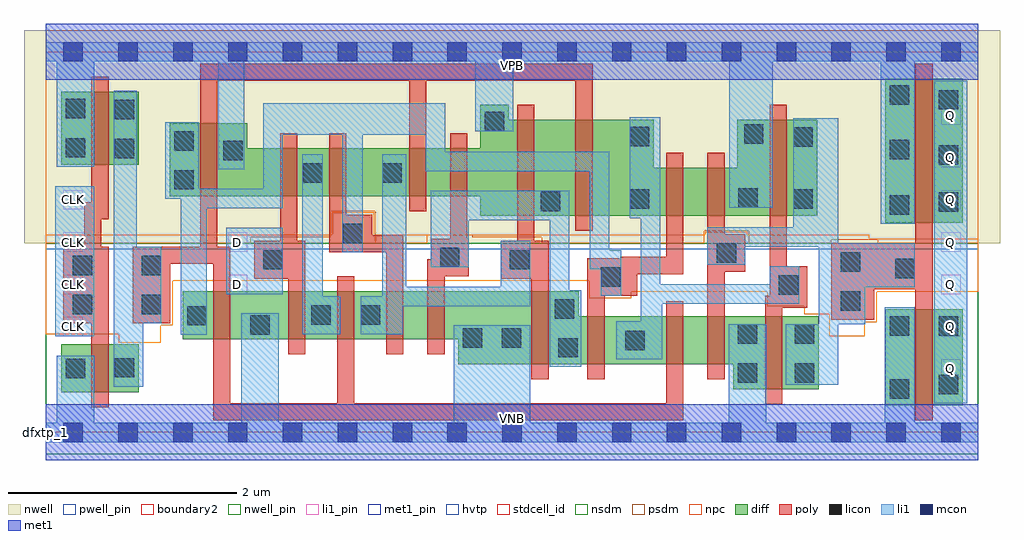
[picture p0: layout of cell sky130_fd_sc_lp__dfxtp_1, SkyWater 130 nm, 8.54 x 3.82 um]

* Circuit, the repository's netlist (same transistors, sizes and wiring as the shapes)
* Copyright 2020 The SkyWater PDK Authors
*
* Licensed under the Apache License, Version 2.0 (the "License");
* you may not use this file except in compliance with the License.
* You may obtain a copy of the License at
*
*     https://www.apache.org/licenses/LICENSE-2.0
*
* Unless required by applicable law or agreed to in writing, software
* distributed under the License is distributed on an "AS IS" BASIS,
* WITHOUT WARRANTIES OR CONDITIONS OF ANY KIND, either express or implied.
* See the License for the specific language governing permissions and
* limitations under the License.
*
* SPDX-License-Identifier: Apache-2.0

.SUBCKT sky130_fd_sc_lp__dfxtp_1 CLK D VGND VNB VPB VPWR Q
*.PININFO CLK:I D:I VGND:I VNB:I VPB:I VPWR:I Q:O
MI657 M0 clkpos net72 VNB sky130_fd_pr__nfet_01v8 m=1 w=0.42U l=0.15U mult=1 sa=0.265
+ sb=0.265 sd=0.28 area=0.063 perim=1.14
MI656 net72 M1 VGND VNB sky130_fd_pr__nfet_01v8 m=1 w=0.42U l=0.15U mult=1 sa=0.265
+ sb=0.265 sd=0.28 area=0.063 perim=1.14
MI646 Q S1 VGND VNB sky130_fd_pr__nfet_01v8 m=1 w=0.84U l=0.15U mult=1 sa=0.265
+ sb=0.265 sd=0.28 area=0.063 perim=1.14
MI648 db clkneg M0 VNB sky130_fd_pr__nfet_01v8 m=1 w=0.42U l=0.15U mult=1 sa=0.265
+ sb=0.265 sd=0.28 area=0.063 perim=1.14
MI654 db D VGND VNB sky130_fd_pr__nfet_01v8 m=1 w=0.42U l=0.15U mult=1 sa=0.265
+ sb=0.265 sd=0.28 area=0.063 perim=1.14
MI642 S0 clkneg net48 VNB sky130_fd_pr__nfet_01v8 m=1 w=0.42U l=0.15U mult=1 sa=0.265
+ sb=0.265 sd=0.28 area=0.063 perim=1.14
MI641 net48 S1 VGND VNB sky130_fd_pr__nfet_01v8 m=1 w=0.42U l=0.15U mult=1 sa=0.265
+ sb=0.265 sd=0.28 area=0.063 perim=1.14
MI652 M1 clkpos S0 VNB sky130_fd_pr__nfet_01v8 m=1 w=0.42U l=0.15U mult=1 sa=0.265
+ sb=0.265 sd=0.28 area=0.063 perim=1.14
MI649 S1 S0 VGND VNB sky130_fd_pr__nfet_01v8 m=1 w=0.64U l=0.15U mult=1 sa=0.265
+ sb=0.265 sd=0.28 area=0.063 perim=1.14
MI635 clkneg CLK VGND VNB sky130_fd_pr__nfet_01v8 m=1 w=0.42U l=0.15U mult=1 sa=0.265
+ sb=0.265 sd=0.28 area=0.063 perim=1.14
MI636 clkpos clkneg VGND VNB sky130_fd_pr__nfet_01v8 m=1 w=0.42U l=0.15U mult=1
+ sa=0.265 sb=0.265 sd=0.28 area=0.063 perim=1.14
MI634 M1 M0 VGND VNB sky130_fd_pr__nfet_01v8 m=1 w=0.64U l=0.15U mult=1 sa=0.265
+ sb=0.265 sd=0.28 area=0.063 perim=1.14
MI659 M0 clkneg net100 VPB sky130_fd_pr__pfet_01v8_hvt m=1 w=0.42U l=0.15U mult=1
+ sa=0.265 sb=0.265 sd=0.28 area=0.063 perim=1.14
MI650 S1 S0 VPWR VPB sky130_fd_pr__pfet_01v8_hvt m=1 w=0.84U l=0.15U mult=1 sa=0.265
+ sb=0.265 sd=0.28 area=0.063 perim=1.14
MI644 S0 clkpos net119 VPB sky130_fd_pr__pfet_01v8_hvt m=1 w=0.42U l=0.15U mult=1
+ sa=0.265 sb=0.265 sd=0.28 area=0.063 perim=1.14
MI639 M1 M0 VPWR VPB sky130_fd_pr__pfet_01v8_hvt m=1 w=0.84U l=0.15U mult=1 sa=0.265
+ sb=0.265 sd=0.28 area=0.063 perim=1.14
MI643 net119 S1 VPWR VPB sky130_fd_pr__pfet_01v8_hvt m=1 w=0.42U l=0.15U mult=1
+ sa=0.265 sb=0.265 sd=0.28 area=0.063 perim=1.14
MI638 clkneg CLK VPWR VPB sky130_fd_pr__pfet_01v8_hvt m=1 w=0.64U l=0.15U mult=1
+ sa=0.265 sb=0.265 sd=0.28 area=0.063 perim=1.14
MI658 net100 M1 VPWR VPB sky130_fd_pr__pfet_01v8_hvt m=1 w=0.42U l=0.15U mult=1
+ sa=0.265 sb=0.265 sd=0.28 area=0.063 perim=1.14
MI645 Q S1 VPWR VPB sky130_fd_pr__pfet_01v8_hvt m=1 w=1.26U l=0.15U mult=1 sa=0.265
+ sb=0.265 sd=0.28 area=0.063 perim=1.14
MI651 db clkpos M0 VPB sky130_fd_pr__pfet_01v8_hvt m=1 w=0.42U l=0.15U mult=1 sa=0.265
+ sb=0.265 sd=0.28 area=0.063 perim=1.14
MI655 db D VPWR VPB sky130_fd_pr__pfet_01v8_hvt m=1 w=0.42U l=0.15U mult=1 sa=0.265
+ sb=0.265 sd=0.28 area=0.063 perim=1.14
MI653 M1 clkneg S0 VPB sky130_fd_pr__pfet_01v8_hvt m=1 w=0.84U l=0.15U mult=1 sa=0.265
+ sb=0.265 sd=0.28 area=0.063 perim=1.14
MI637 clkpos clkneg VPWR VPB sky130_fd_pr__pfet_01v8_hvt m=1 w=0.64U l=0.15U mult=1
+ sa=0.265 sb=0.265 sd=0.28 area=0.063 perim=1.14
.ENDS sky130_fd_sc_lp__dfxtp_1

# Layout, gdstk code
import gdstk
lib = gdstk.Library(unit=1e-6, precision=1e-09)
def R(c, l, rs):  # rectangles x0, y0, x1, y1
    for r in rs: c.add(gdstk.rectangle(r[:2], r[2:], *l))
def A(c, l, x, y, w, h, nx, ny, dx, dy):  # array of equal rectangles
    R(c, l, [(x+i*dx, y+j*dy, x+i*dx+w, y+j*dy+h) for i in range(nx) for j in range(ny)])
def P(c, l, *ps):  # polygons
    for p in ps: c.add(gdstk.Polygon(p, *l))
nwell_pin = (64, 16)
nwell = (64, 20)
diff = (65, 20)
poly = (66, 20)
licon = (66, 44)
li1_pin = (67, 16)
li1 = (67, 20)
mcon = (67, 44)
met1_pin = (68, 16)
met1 = (68, 20)
hvtp = (78, 44)
stdcell_id = (81, 4)
nsdm = (93, 44)
psdm = (94, 20)
npc = (95, 20)
pwell_pin = (122, 16)
boundary2 = (236, 0)

sky130_fd_sc_lp__dfxtp_1 = lib.new_cell('sky130_fd_sc_lp__dfxtp_1')
R(sky130_fd_sc_lp__dfxtp_1, nwell_pin, [(0,3.085,8.16,3.33)])
R(sky130_fd_sc_lp__dfxtp_1, nwell, [(-0.19,1.655,8.35,3.52)])
R(sky130_fd_sc_lp__dfxtp_1, diff, [(7.345,0.235,8.025,1.075), (0.135,0.35,0.815,0.77), (7.345,1.835,8.025,3.095), (0.135,2.34,0.815,2.98)])
P(sky130_fd_sc_lp__dfxtp_1, diff, [(6.75,2.735),(6.05,2.735),(6.05,2.315),(5.32,2.315),(5.32,2.735),(4.05,2.735),(4.05,2.865),(3.8,2.865),(3.8,2.485),(1.765,2.485),(1.765,2.705),(1.085,2.705),(1.085,2.065),(3.8,2.065),(3.8,1.895),(6.75,1.895)],
  [(6.765,1.015),(4.665,1.015),(4.665,1.235),(1.2,1.235),(1.2,0.815),(3.61,0.815),(3.61,0.595),(6.015,0.595),(6.015,0.375),(6.765,0.375)])
P(sky130_fd_sc_lp__dfxtp_1, poly, [(0.55,1.625),(0.485,1.625),(0.485,1.865),(0.55,1.865),(0.55,3.11),(0.4,3.11),(0.4,2.015),(0.335,2.015),(0.335,1.625),(0.155,1.625),(0.155,0.955),(0.4,0.955),(0.4,0.22),(0.55,0.22)],
  [(2.27,1.675),(2.2,1.675),(2.2,2.615),(2.05,2.615),(2.05,1.675),(1.825,1.675),(1.825,1.345),(2.12,1.345),(2.12,0.685),(2.27,0.685)],
  [(3.13,1.725),(2.855,1.725),(2.855,1.905),(2.63,1.905),(2.63,2.615),(2.48,2.615),(2.48,1.575),(2.98,1.575),(2.98,0.685),(3.13,0.685)],
  [(3.7,1.695),(3.69,1.695),(3.69,2.615),(3.54,2.615),(3.54,1.695),(3.37,1.695),(3.37,1.515),(3.34,1.515),(3.34,0.685),(3.49,0.685),(3.49,1.365),(3.7,1.365)],
  [(4.4,1.675),(4.275,1.675),(4.275,2.865),(4.125,2.865),(4.125,1.675),(3.98,1.675),(3.98,1.345),(4.25,1.345),(4.25,0.465),(4.4,0.465)],
  [(5.58,2.445),(5.43,2.445),(5.43,1.535),(5.025,1.535),(5.025,1.525),(4.74,1.525),(4.74,0.465),(4.89,0.465),(4.89,1.195),(5.175,1.195),(5.175,1.385),(5.58,1.385)],
  [(5.58,1.145),(5.43,1.145),(5.43,0.255),(2.7,0.255),(2.7,1.365),(2.55,1.365),(2.55,0.255),(1.615,0.255),(1.615,1.625),(1.5,1.625),(1.5,3.075),(3.18,3.075),(3.18,1.935),(3.33,1.935),(3.33,3.075),(4.635,3.075),(4.635,1.765),(4.785,1.765),(4.785,3.225),(1.35,3.225),(1.35,1.625),(0.76,1.625),(0.76,0.955),(1.09,0.955),(1.09,1.475),(1.465,1.475),(1.465,0.105),(5.58,0.105)],
  [(6.665,1.455),(6.485,1.455),(6.485,2.865),(6.335,2.865),(6.335,1.195),(6.295,1.195),(6.295,0.245),(6.445,0.245),(6.445,1.09),(6.665,1.09)],
  [(7.76,3.225),(7.61,3.225),(7.61,1.655),(6.875,1.655),(6.875,0.985),(7.25,0.985),(7.25,1.25),(7.61,1.25),(7.61,0.105),(7.76,0.105)],
  [(6.12,1.735),(5.94,1.735),(5.94,2.445),(5.79,2.445),(5.79,0.465),(5.94,0.465),(5.94,1.405),(6.12,1.405)])
R(sky130_fd_sc_lp__dfxtp_1, licon, [(7.385,0.295,7.555,0.465), (7.815,0.335,7.985,0.505), (6.055,0.435,6.225,0.605), (6.555,0.435,6.725,0.605), (0.175,0.475,0.345,0.645), (0.605,0.48,0.775,0.65), (4.485,0.655,4.655,0.825), (5.07,0.72,5.24,0.89), (3.65,0.74,3.82,0.91), (3.99,0.74,4.16,0.91), (6.055,0.775,6.225,0.945), (6.555,0.775,6.725,0.945), (7.385,0.845,7.555,1.015), (7.815,0.845,7.985,1.015), (1.79,0.855,1.96,1.025), (1.24,0.935,1.41,1.105), (2.325,0.94,2.495,1.11), (2.755,0.94,2.925,1.11), (4.455,0.995,4.625,1.165), (0.235,1.035,0.405,1.205), (0.84,1.035,1.01,1.205), (6.955,1.065,7.125,1.235), (6.415,1.205,6.585,1.375), (4.855,1.275,5.025,1.445), (7.435,1.35,7.605,1.52), (0.235,1.375,0.405,1.545), (0.84,1.375,1.01,1.545), (6.955,1.405,7.125,1.575), (1.905,1.425,2.075,1.595), (4.06,1.425,4.23,1.595), (3.45,1.445,3.62,1.615), (5.87,1.485,6.04,1.655), (2.605,1.655,2.775,1.825), (7.385,1.905,7.555,2.075), (7.815,1.93,7.985,2.1), (4.33,1.935,4.5,2.105), (5.11,1.955,5.28,2.125), (6.54,1.955,6.71,2.125), (6.06,1.965,6.23,2.135), (1.125,2.125,1.295,2.295), (2.255,2.185,2.425,2.355), (2.945,2.185,3.115,2.355), (7.815,2.34,7.985,2.51), (1.555,2.38,1.725,2.55), (7.385,2.39,7.555,2.56), (0.605,2.4,0.775,2.57), (0.175,2.405,0.345,2.575), (1.125,2.465,1.295,2.635), (6.54,2.5,6.71,2.67), (5.11,2.505,5.28,2.675), (6.11,2.525,6.28,2.695), (3.84,2.635,4.01,2.805), (0.605,2.74,0.775,2.91), (0.175,2.75,0.345,2.92), (7.815,2.825,7.985,2.995), (7.385,2.865,7.555,3.035)])
A(sky130_fd_sc_lp__dfxtp_1, li1_pin, 7.835, 0.47, 0.17, 0.17, 1, 7, 0, 0.37)
A(sky130_fd_sc_lp__dfxtp_1, li1_pin, 0.155, 0.84, 0.17, 0.17, 1, 4, 0, 0.37)
R(sky130_fd_sc_lp__dfxtp_1, li1_pin, [(1.595,1.21,1.765,1.38), (1.595,1.58,1.765,1.75)])
R(sky130_fd_sc_lp__dfxtp_1, li1, [(7.775,0.255,8.065,3.075), (0.085,0.84,0.425,2.155), (1.58,1.21,2.075,1.79)])
P(sky130_fd_sc_lp__dfxtp_1, li1, [(0.795,1.625),(1.01,1.625),(1.01,0.955),(0.855,0.955),(0.855,0.4),(0.595,0.4),(0.595,2.99),(0.795,2.99)],
  [(3.325,2.285),(3.325,2.605),(2.775,2.605),(2.775,1.575),(2.595,1.575),(2.595,2.605),(2.075,2.605),(2.075,1.96),(1.41,1.96),(1.41,0.855),(1.18,0.855),(1.18,2.045),(1.045,2.045),(1.045,2.715),(1.34,2.715),(1.34,2.13),(1.905,2.13),(1.905,2.88),(3.495,2.88),(3.495,2.455),(4.93,2.455),(4.93,1.595),(5.035,1.595),(5.035,1.195),(4.855,1.195),(4.855,1.425),(4.76,1.425),(4.76,2.285)],
  [(3.76,2.635),(3.76,3.245),(1.735,3.245),(1.735,2.3),(1.51,2.3),(1.51,3.245),(0.425,3.245),(0.425,2.325),(0.095,2.325),(0.095,3.245),(0,3.245),(0,3.415),(8.16,3.415),(8.16,3.245),(7.605,3.245),(7.605,1.825),(7.305,1.825),(7.305,3.245),(6.36,3.245),(6.36,1.965),(5.98,1.965),(5.98,3.245),(4.09,3.245),(4.09,2.635)],
  [(0.095,0.085),(0.095,0.67),(0.425,0.67),(0.425,0.085),(1.71,0.085),(1.71,1.04),(2.04,1.04),(2.04,0.085),(3.57,0.085),(3.57,0.935),(4.24,0.935),(4.24,0.085),(5.975,0.085),(5.975,0.945),(6.305,0.945),(6.305,0.085),(7.34,0.085),(7.34,1.095),(7.605,1.095),(7.605,0.085),(8.16,0.085),(8.16,-0.085),(0,-0.085),(0,0.085)],
  [(7.605,1.655),(6.935,1.655),(6.935,2.75),(6.54,2.75),(6.54,1.795),(5.79,1.795),(5.79,1.465),(6.12,1.465),(6.12,1.625),(6.765,1.625),(6.765,0.945),(6.475,0.945),(6.475,0.415),(6.935,0.415),(6.935,0.945),(7.17,0.945),(7.17,1.27),(7.605,1.27)],
  [(6.595,1.455),(6.335,1.455),(6.335,1.295),(5.375,1.295),(5.375,2.755),(5.11,2.755),(5.11,1.875),(5.205,1.875),(5.205,0.97),(4.99,0.97),(4.99,0.64),(5.395,0.64),(5.395,1.125),(6.595,1.125)],
  [(3.7,1.855),(3.7,1.445),(3.37,1.445),(3.37,2.115),(4.58,2.115),(4.58,1.245),(4.685,1.245),(4.685,0.575),(4.41,0.575),(4.41,1.855)],
  [(2.945,1.19),(2.945,2.435),(3.155,2.435),(3.155,1.275),(3.98,1.275),(3.98,1.675),(4.24,1.675),(4.24,1.105),(3.125,1.105),(3.125,0.86),(2.755,0.86),(2.755,1.19)],
  [(2.245,2.435),(2.425,2.435),(2.425,1.19),(2.575,1.19),(2.575,0.86),(2.245,0.86)])
A(sky130_fd_sc_lp__dfxtp_1, mcon, 0.155, -0.085, 0.17, 0.17, 17, 2, 0.48, 3.33)
R(sky130_fd_sc_lp__dfxtp_1, met1_pin, [(0,0,8.16,0.245), (0,3.085,8.16,3.33)])
R(sky130_fd_sc_lp__dfxtp_1, met1, [(0,-0.245,8.16,0.245), (0,3.085,8.16,3.575)])
R(sky130_fd_sc_lp__dfxtp_1, hvtp, [(0,1.6,8.16,3.33)])
R(sky130_fd_sc_lp__dfxtp_1, stdcell_id, [(0,0,8.16,3.33)])
R(sky130_fd_sc_lp__dfxtp_1, nsdm, [(0,-0.19,8.16,1.655)])
P(sky130_fd_sc_lp__dfxtp_1, psdm, [(8.16,3.52),(0,3.52),(0,1.655),(1.795,1.655),(1.795,1.705),(2.495,1.705),(2.495,1.935),(2.885,1.935),(2.885,1.655),(3.34,1.655),(3.34,1.725),(3.73,1.725),(3.73,1.705),(4.34,1.705),(4.34,1.655),(5.76,1.655),(5.76,1.765),(6.15,1.765),(6.15,1.655),(6.875,1.655),(6.875,1.685),(7.28,1.685),(7.28,1.655),(8.16,1.655)])
P(sky130_fd_sc_lp__dfxtp_1, npc, [(8.16,1.695),(7.205,1.695),(7.205,1.73),(6.14,1.73),(6.14,1.755),(5.77,1.755),(5.77,1.73),(2.875,1.73),(2.875,1.925),(2.505,1.925),(2.505,1.73),(0,1.73),(0,0.86),(0.64,0.86),(0.64,0.785),(1.005,0.785),(1.005,0.935),(1.11,0.935),(1.11,1.325),(4.755,1.325),(4.755,1.175),(5.125,1.175),(5.125,1.23),(6.315,1.23),(6.315,1.105),(6.635,1.105),(6.635,1.035),(6.855,1.035),(6.855,0.84),(7.165,0.84),(7.165,0.965),(7.27,0.965),(7.27,1.23),(8.16,1.23)])
R(sky130_fd_sc_lp__dfxtp_1, pwell_pin, [(0,0,8.16,0.245)])
R(sky130_fd_sc_lp__dfxtp_1, boundary2, [(0,0,8.16,3.33)])
sky130_fd_sc_lp__dfxtp_1.add(gdstk.Label('VNB', (4.08,0.123), layer=64, texttype=59))
sky130_fd_sc_lp__dfxtp_1.add(gdstk.Label('VPB', (4.08,3.208), layer=64, texttype=5))
sky130_fd_sc_lp__dfxtp_1.add(gdstk.Label('dfxtp_1', (0,0), layer=83, texttype=44))
sky130_fd_sc_lp__dfxtp_1.add(gdstk.Label('VPWR', (4.08,3.208), layer=68, texttype=5))
sky130_fd_sc_lp__dfxtp_1.add(gdstk.Label('VGND', (4.08,0.123), layer=68, texttype=5))
sky130_fd_sc_lp__dfxtp_1.add(gdstk.Label('CLK', (0.24,0.925), layer=67, texttype=5))
sky130_fd_sc_lp__dfxtp_1.add(gdstk.Label('CLK', (0.24,1.295), layer=67, texttype=5))
sky130_fd_sc_lp__dfxtp_1.add(gdstk.Label('CLK', (0.24,1.665), layer=67, texttype=5))
sky130_fd_sc_lp__dfxtp_1.add(gdstk.Label('CLK', (0.24,2.035), layer=67, texttype=5))
sky130_fd_sc_lp__dfxtp_1.add(gdstk.Label('D', (1.68,1.295), layer=67, texttype=5))
sky130_fd_sc_lp__dfxtp_1.add(gdstk.Label('D', (1.68,1.665), layer=67, texttype=5))
sky130_fd_sc_lp__dfxtp_1.add(gdstk.Label('Q', (7.92,0.555), layer=67, texttype=5))
sky130_fd_sc_lp__dfxtp_1.add(gdstk.Label('Q', (7.92,0.925), layer=67, texttype=5))
sky130_fd_sc_lp__dfxtp_1.add(gdstk.Label('Q', (7.92,1.295), layer=67, texttype=5))
sky130_fd_sc_lp__dfxtp_1.add(gdstk.Label('Q', (7.92,1.665), layer=67, texttype=5))
sky130_fd_sc_lp__dfxtp_1.add(gdstk.Label('Q', (7.92,2.035), layer=67, texttype=5))
sky130_fd_sc_lp__dfxtp_1.add(gdstk.Label('Q', (7.92,2.405), layer=67, texttype=5))
sky130_fd_sc_lp__dfxtp_1.add(gdstk.Label('Q', (7.92,2.775), layer=67, texttype=5))

lib.write_gds('sky130_fd_sc_lp__dfxtp_1.gds')
